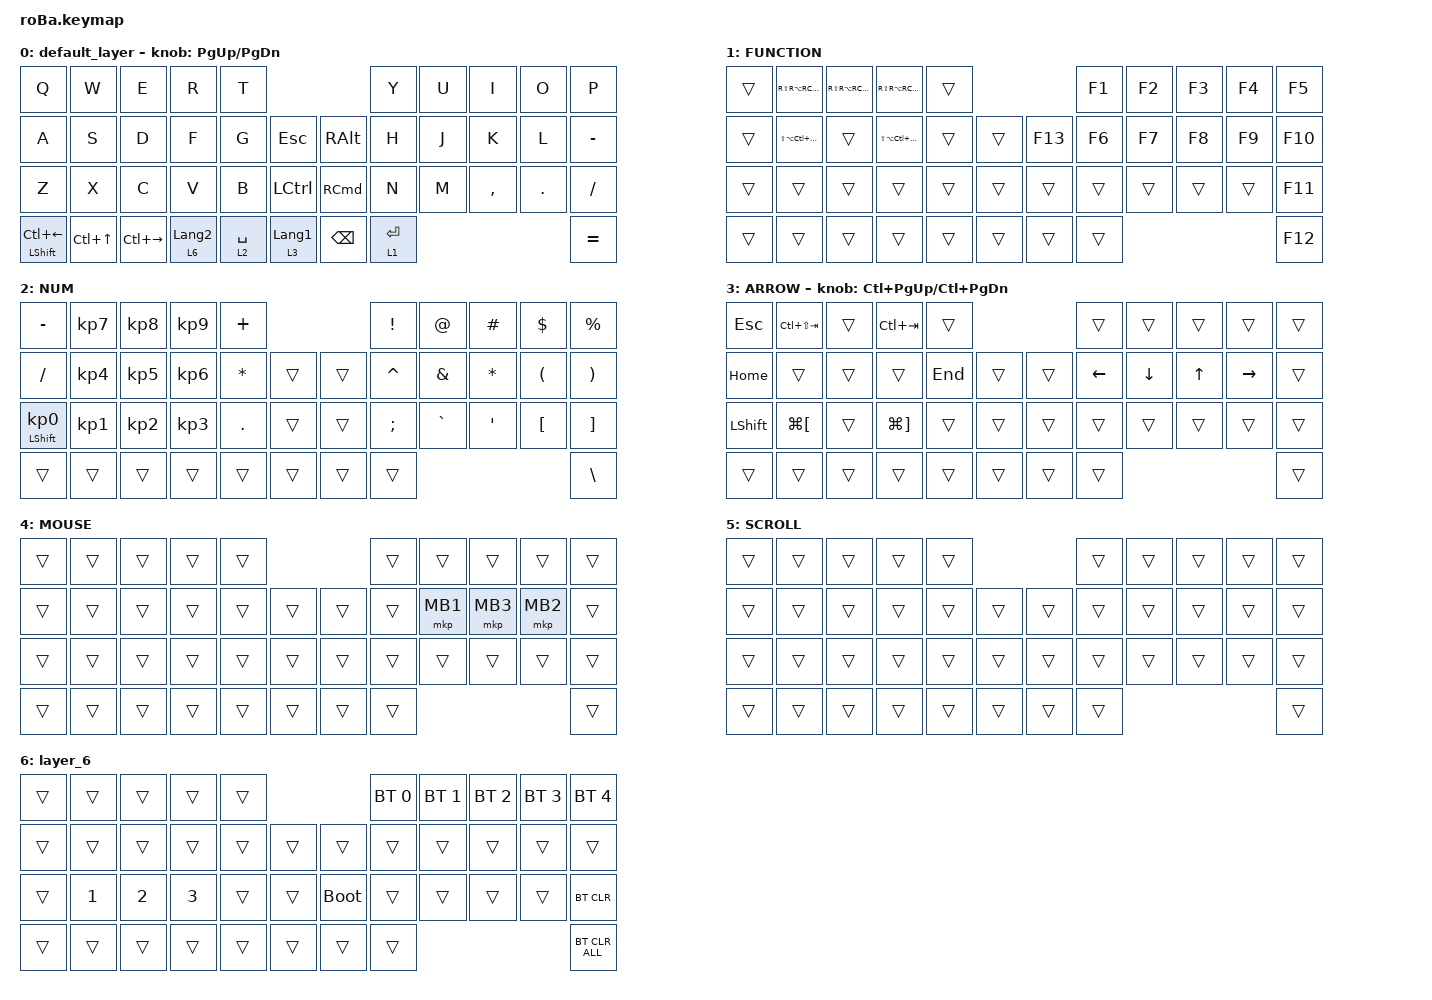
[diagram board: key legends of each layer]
#include <behaviors.dtsi>
#include <dt-bindings/zmk/bt.h>
#include <dt-bindings/zmk/keys.h>
#include <dt-bindings/zmk/pointing.h>

&mt {
    flavor = "balanced";
    quick-tap-ms = <0>;
};

&trackball {
    automouse-layer = <4>;
    scroll-layers = <3>;

    // arrows {
    //     layers = <3>;
    //     bindings =
    //         <&kp RIGHT_ARROW>,
    //         <&kp LEFT_ARROW>,
    //         <&kp UP_ARROW>,
    //         <&kp DOWN_ARROW>;
    //     tick = <10>;
    //     wait-ms = <5>;
    //     tap-ms = <5>;
    // };
};

/ {
    combos {
        compatible = "zmk,combos";

        tab {
            bindings = <&kp TAB>;
            key-positions = <11 12>;
        };

        shift_tab {
            bindings = <&kp LS(TAB)>;
            key-positions = <12 13>;
        };

        muhennkann {
            bindings = <&to_layer_0 INT_MUHENKAN>;
            key-positions = <11 10>;
        };

        double_quotation {
            bindings = <&kp DOUBLE_QUOTES>;
            key-positions = <20 21>;
        };

        eq {
            bindings = <&kp EQUAL>;
            key-positions = <24 25>;
        };
    };

    macros {
        to_layer_0: to_layer_0 {
            compatible = "zmk,behavior-macro-one-param";
            #binding-cells = <1>;
            bindings = <&to 0 &macro_param_1to1 &kp MACRO_PLACEHOLDER>;
            label = "TO_LAYER_0";
        };
    };

    behaviors {
        lt_to_layer_0: lt_to_layer_0 {
            compatible = "zmk,behavior-hold-tap";
            label = "LAYER_TAP_TO_0";
            bindings = <&mo>, <&to_layer_0>;

            #binding-cells = <2>;
            tapping-term-ms = <200>;
        };
    };

    keymap {
        compatible = "zmk,keymap";

        default_layer {
            bindings = <
&kp Q                          &kp W             &kp E                &kp R                        &kp T                                                            &kp Y        &kp U  &kp I      &kp O    &kp P
&kp A                          &kp S             &kp D                &kp F                        &kp G        &kp ESCAPE                       &kp RIGHT_ALT      &kp H        &kp J  &kp K      &kp L    &kp MINUS
&kp Z                          &kp X             &kp C                &kp V                        &kp B        &kp LEFT_CONTROL                 &kp RIGHT_COMMAND  &kp N        &kp M  &kp COMMA  &kp DOT  &kp SLASH
&mt LEFT_SHIFT LC(LEFT_ARROW)  &kp LC(UP_ARROW)  &kp LC(RIGHT_ARROW)  &lt_to_layer_0 6 LANGUAGE_2  &lt 2 SPACE  &lt_to_layer_0 3 LANGUAGE_1      &kp BACKSPACE      &lt 1 ENTER                             &kp EQUAL
            >;

            sensor-bindings = <&inc_dec_kp PAGE_UP PAGE_DOWN>;
        };

        FUNCTION {
            bindings = <
&trans  &kp RS(RA(RC(RG(LEFT))))  &kp RS(RA(RC(RG(UP_ARROW))))  &kp RS(RA(RC(RG(RIGHT))))  &trans                       &kp F1  &kp F2  &kp F3  &kp F4  &kp F5
&trans  &kp LS(LA(LC(LG(LEFT))))  &trans                        &kp LS(LA(LC(LG(RIGHT))))  &trans  &trans      &kp F13  &kp F6  &kp F7  &kp F8  &kp F9  &kp F10
&trans  &trans                    &trans                        &trans                     &trans  &trans      &trans   &trans  &trans  &trans  &trans  &kp F11
&trans  &trans                    &trans                        &trans                     &trans  &trans      &trans   &trans                          &kp F12
            >;
        };

        NUM {
            bindings = <
&kp MINUS                   &kp KP_NUMBER_7  &kp KP_NUMBER_8  &kp KP_NUMBER_9  &kp PLUS                          &kp EXCLAMATION  &kp AT_SIGN    &kp HASH          &kp DOLLAR            &kp PERCENT
&kp SLASH                   &kp KP_NUMBER_4  &kp KP_NUMBER_5  &kp KP_NUMBER_6  &kp ASTERISK  &trans      &trans  &kp CARET        &kp AMPERSAND  &kp ASTERISK      &kp LEFT_PARENTHESIS  &kp RIGHT_PARENTHESIS
&mt LEFT_SHIFT KP_NUMBER_0  &kp KP_NUMBER_1  &kp KP_NUMBER_2  &kp KP_NUMBER_3  &kp PERIOD    &trans      &trans  &kp SEMICOLON    &kp GRAVE      &kp SINGLE_QUOTE  &kp LEFT_BRACKET      &kp RIGHT_BRACKET
&trans                      &trans           &trans           &trans           &trans        &trans      &trans  &trans                                                                  &kp BACKSLASH
            >;
        };

        ARROW {
            bindings = <
&kp ESCAPE      &kp LC(LS(TAB))       &trans  &kp LC(TAB)            &trans                       &trans          &trans          &trans        &trans           &trans
&kp HOME        &trans                &trans  &trans                 &kp END  &trans      &trans  &kp LEFT_ARROW  &kp DOWN_ARROW  &kp UP_ARROW  &kp RIGHT_ARROW  &trans
&kp LEFT_SHIFT  &kp LG(LEFT_BRACKET)  &trans  &kp LG(RIGHT_BRACKET)  &trans   &trans      &trans  &trans          &trans          &trans        &trans           &trans
&trans          &trans                &trans  &trans                 &trans   &trans      &trans  &trans                                                         &trans
            >;

            sensor-bindings = <&inc_dec_kp LC(PAGE_UP) LC(PAGE_DOWN)>;
        };

        MOUSE {
            bindings = <
&trans  &trans  &trans  &trans  &trans                      &trans  &trans    &trans    &trans    &trans
&trans  &trans  &trans  &trans  &trans  &trans      &trans  &trans  &mkp MB1  &mkp MB3  &mkp MB2  &trans
&trans  &trans  &trans  &trans  &trans  &trans      &trans  &trans  &trans    &trans    &trans    &trans
&trans  &trans  &trans  &trans  &trans  &trans      &trans  &trans                                &trans
            >;
        };

        SCROLL {
            bindings = <
&trans  &trans  &trans  &trans  &trans                      &trans  &trans  &trans  &trans  &trans
&trans  &trans  &trans  &trans  &trans  &trans      &trans  &trans  &trans  &trans  &trans  &trans
&trans  &trans  &trans  &trans  &trans  &trans      &trans  &trans  &trans  &trans  &trans  &trans
&trans  &trans  &trans  &trans  &trans  &trans      &trans  &trans                          &trans
            >;
        };

        layer_6 {
            bindings = <
&trans  &trans        &trans        &trans        &trans                           &bt BT_SEL 0  &bt BT_SEL 1  &bt BT_SEL 2  &bt BT_SEL 3  &bt BT_SEL 4
&trans  &trans        &trans        &trans        &trans  &trans      &trans       &trans        &trans        &trans        &trans        &trans
&trans  &kp NUMBER_1  &kp NUMBER_2  &kp NUMBER_3  &trans  &trans      &bootloader  &trans        &trans        &trans        &trans        &bt BT_CLR
&trans  &trans        &trans        &trans        &trans  &trans      &trans       &trans                                                  &bt BT_CLR_ALL
            >;
        };
    };
};
